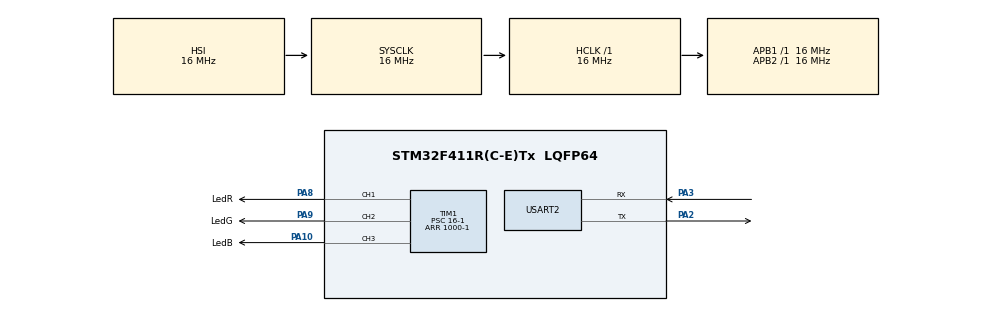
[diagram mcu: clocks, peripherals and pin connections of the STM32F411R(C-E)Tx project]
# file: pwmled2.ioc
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Mcu.Family=STM32F4
Mcu.Name=STM32F411R(C-E)Tx
Mcu.Package=LQFP64
NVIC.PriorityGroup=NVIC_PRIORITYGROUP_4
NVIC.USART2_IRQn=true\:0\:0\:false\:false\:true\:true\:true\:true
PA10.GPIO_Label=LedB
PA10.Signal=S_TIM1_CH3
PA2.Mode=Asynchronous
PA2.Signal=USART2_TX
PA3.Mode=Asynchronous
PA3.Signal=USART2_RX
PA8.GPIO_Label=LedR
PA8.Signal=S_TIM1_CH1
PA9.GPIO_Label=LedG
PA9.Signal=S_TIM1_CH2
ProjectManager.HeapSize=0x200
ProjectManager.StackSize=0x400
ProjectManager.TargetToolchain=STM32CubeIDE
RCC.AHBFreq_Value=16000000
RCC.APB1Freq_Value=16000000
RCC.APB2Freq_Value=16000000
RCC.CortexFreq_Value=16000000
RCC.HSE_VALUE=25000000
RCC.HSI_VALUE=16000000
RCC.LSE_VALUE=32768
RCC.SYSCLKFreq_VALUE=16000000
RCC.VCOOutputFreq_Value=192000000
SH.S_TIM1_CH1.0=TIM1_CH1,PWM Generation1 CH1
SH.S_TIM1_CH2.0=TIM1_CH2,PWM Generation2 CH2
SH.S_TIM1_CH3.0=TIM1_CH3,PWM Generation3 CH3
TIM1.Channel-PWM\ Generation1\ CH1=TIM_CHANNEL_1
TIM1.Channel-PWM\ Generation2\ CH2=TIM_CHANNEL_2
TIM1.Channel-PWM\ Generation3\ CH3=TIM_CHANNEL_3
TIM1.Period=1000-1
TIM1.Prescaler=16-1
TIM1.Pulse-PWM\ Generation1\ CH1=1
TIM1.Pulse-PWM\ Generation2\ CH2=1
TIM1.Pulse-PWM\ Generation3\ CH3=1
USART2.VirtualMode=VM_ASYNC
VP_TIM1_VS_ClockSourceINT.Mode=Internal
board=custom

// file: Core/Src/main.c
/* USER CODE BEGIN Header */
/**
  ******************************************************************************
  * @file           : main.c
  * @brief          : Main program body
  ******************************************************************************
  * @attention
  *
  * Copyright (c) 2024 STMicroelectronics.
  * All rights reserved.
  *
  * This software is licensed under terms that can be found in the LICENSE file
  * in the root directory of this software component.
  * If no LICENSE file comes with this software, it is provided AS-IS.
  *
  ******************************************************************************
  */
/* USER CODE END Header */
#include "main.h"

/* USER CODE BEGIN Includes */
#include "uart.h"
#include "hsv2rgb.h"
/* USER CODE END Includes */

TIM_HandleTypeDef htim1;

UART_HandleTypeDef huart2;

void SystemClock_Config(void);
static void MX_GPIO_Init(void);
static void MX_TIM1_Init(void);
static void MX_USART2_UART_Init(void);

int main(void)
{

  /* MCU Configuration--------------------------------------------------------*/

  /* Reset of all peripherals, Initializes the Flash interface and the Systick. */
  HAL_Init();

  /* Configure the system clock */
  SystemClock_Config();

  /* Initialize all configured peripherals */
  MX_GPIO_Init();
  MX_TIM1_Init();
  MX_USART2_UART_Init();
  /* USER CODE BEGIN 2 */
  HAL_TIM_PWM_Start(&htim1, TIM_CHANNEL_1);
  HAL_TIM_PWM_Start(&htim1, TIM_CHANNEL_2);
  HAL_TIM_PWM_Start(&htim1, TIM_CHANNEL_3);

  struct hsv_colour hsv;
  struct rgb_colour rgb;
  hsv.h=0;
  /* USER CODE END 2 */

  /* Infinite loop */
  /* USER CODE BEGIN WHILE */
  while (1)
  {
  	hsv.s=1;
  	hsv.v=1;
  	hsv2rgb(&hsv, &rgb);
  	htim1.Instance->CCR1=rgb.r*1000;
  	htim1.Instance->CCR2=rgb.g*1000;
  	htim1.Instance->CCR3=rgb.b*1000;
  	hsv.h+=0.01;
  	if(hsv.h>=1.0) hsv.h=0;
  	HAL_Delay(10);

    /* USER CODE END WHILE */

  }
}

void SystemClock_Config(void)
{
  RCC_OscInitTypeDef RCC_OscInitStruct = {0};
  RCC_ClkInitTypeDef RCC_ClkInitStruct = {0};

  /** Configure the main internal regulator output voltage
  */
  __HAL_RCC_PWR_CLK_ENABLE();
  __HAL_PWR_VOLTAGESCALING_CONFIG(PWR_REGULATOR_VOLTAGE_SCALE1);

  /** Initializes the RCC Oscillators according to the specified parameters
  * in the RCC_OscInitTypeDef structure.
  */
  RCC_OscInitStruct.OscillatorType = RCC_OSCILLATORTYPE_HSI;
  RCC_OscInitStruct.HSIState = RCC_HSI_ON;
  RCC_OscInitStruct.HSICalibrationValue = RCC_HSICALIBRATION_DEFAULT;
  RCC_OscInitStruct.PLL.PLLState = RCC_PLL_NONE;
  if (HAL_RCC_OscConfig(&RCC_OscInitStruct) != HAL_OK)
  {
    Error_Handler();
  }

  /** Initializes the CPU, AHB and APB buses clocks
  */
  RCC_ClkInitStruct.ClockType = RCC_CLOCKTYPE_HCLK|RCC_CLOCKTYPE_SYSCLK
                              |RCC_CLOCKTYPE_PCLK1|RCC_CLOCKTYPE_PCLK2;
  RCC_ClkInitStruct.SYSCLKSource = RCC_SYSCLKSOURCE_HSI;
  RCC_ClkInitStruct.AHBCLKDivider = RCC_SYSCLK_DIV1;
  RCC_ClkInitStruct.APB1CLKDivider = RCC_HCLK_DIV1;
  RCC_ClkInitStruct.APB2CLKDivider = RCC_HCLK_DIV1;

  if (HAL_RCC_ClockConfig(&RCC_ClkInitStruct, FLASH_LATENCY_0) != HAL_OK)
  {
    Error_Handler();
  }
}

static void MX_TIM1_Init(void)
{

  TIM_ClockConfigTypeDef sClockSourceConfig = {0};
  TIM_MasterConfigTypeDef sMasterConfig = {0};
  TIM_OC_InitTypeDef sConfigOC = {0};
  TIM_BreakDeadTimeConfigTypeDef sBreakDeadTimeConfig = {0};

  htim1.Instance = TIM1;
  htim1.Init.Prescaler = 16-1;
  htim1.Init.CounterMode = TIM_COUNTERMODE_UP;
  htim1.Init.Period = 1000-1;
  htim1.Init.ClockDivision = TIM_CLOCKDIVISION_DIV1;
  htim1.Init.RepetitionCounter = 0;
  htim1.Init.AutoReloadPreload = TIM_AUTORELOAD_PRELOAD_DISABLE;
  if (HAL_TIM_Base_Init(&htim1) != HAL_OK)
  {
    Error_Handler();
  }
  sClockSourceConfig.ClockSource = TIM_CLOCKSOURCE_INTERNAL;
  if (HAL_TIM_ConfigClockSource(&htim1, &sClockSourceConfig) != HAL_OK)
  {
    Error_Handler();
  }
  if (HAL_TIM_PWM_Init(&htim1) != HAL_OK)
  {
    Error_Handler();
  }
  sMasterConfig.MasterOutputTrigger = TIM_TRGO_RESET;
  sMasterConfig.MasterSlaveMode = TIM_MASTERSLAVEMODE_DISABLE;
  if (HAL_TIMEx_MasterConfigSynchronization(&htim1, &sMasterConfig) != HAL_OK)
  {
    Error_Handler();
  }
  sConfigOC.OCMode = TIM_OCMODE_PWM1;
  sConfigOC.Pulse = 1;
  sConfigOC.OCPolarity = TIM_OCPOLARITY_HIGH;
  sConfigOC.OCNPolarity = TIM_OCNPOLARITY_HIGH;
  sConfigOC.OCFastMode = TIM_OCFAST_DISABLE;
  sConfigOC.OCIdleState = TIM_OCIDLESTATE_RESET;
  sConfigOC.OCNIdleState = TIM_OCNIDLESTATE_RESET;
  if (HAL_TIM_PWM_ConfigChannel(&htim1, &sConfigOC, TIM_CHANNEL_1) != HAL_OK)
  {
    Error_Handler();
  }
  if (HAL_TIM_PWM_ConfigChannel(&htim1, &sConfigOC, TIM_CHANNEL_2) != HAL_OK)
  {
    Error_Handler();
  }
  if (HAL_TIM_PWM_ConfigChannel(&htim1, &sConfigOC, TIM_CHANNEL_3) != HAL_OK)
  {
    Error_Handler();
  }
  sBreakDeadTimeConfig.OffStateRunMode = TIM_OSSR_DISABLE;
  sBreakDeadTimeConfig.OffStateIDLEMode = TIM_OSSI_DISABLE;
  sBreakDeadTimeConfig.LockLevel = TIM_LOCKLEVEL_OFF;
  sBreakDeadTimeConfig.DeadTime = 0;
  sBreakDeadTimeConfig.BreakState = TIM_BREAK_DISABLE;
  sBreakDeadTimeConfig.BreakPolarity = TIM_BREAKPOLARITY_HIGH;
  sBreakDeadTimeConfig.AutomaticOutput = TIM_AUTOMATICOUTPUT_DISABLE;
  if (HAL_TIMEx_ConfigBreakDeadTime(&htim1, &sBreakDeadTimeConfig) != HAL_OK)
  {
    Error_Handler();
  }
  HAL_TIM_MspPostInit(&htim1);

}

static void MX_USART2_UART_Init(void)
{

  huart2.Instance = USART2;
  huart2.Init.BaudRate = 115200;
  huart2.Init.WordLength = UART_WORDLENGTH_8B;
  huart2.Init.StopBits = UART_STOPBITS_1;
  huart2.Init.Parity = UART_PARITY_NONE;
  huart2.Init.Mode = UART_MODE_TX_RX;
  huart2.Init.HwFlowCtl = UART_HWCONTROL_NONE;
  huart2.Init.OverSampling = UART_OVERSAMPLING_16;
  if (HAL_UART_Init(&huart2) != HAL_OK)
  {
    Error_Handler();
  }

}

static void MX_GPIO_Init(void)
{

  /* GPIO Ports Clock Enable */
  __HAL_RCC_GPIOA_CLK_ENABLE();

}

void Error_Handler(void)
{
  __disable_irq();
  while (1)
  {
  }
}
